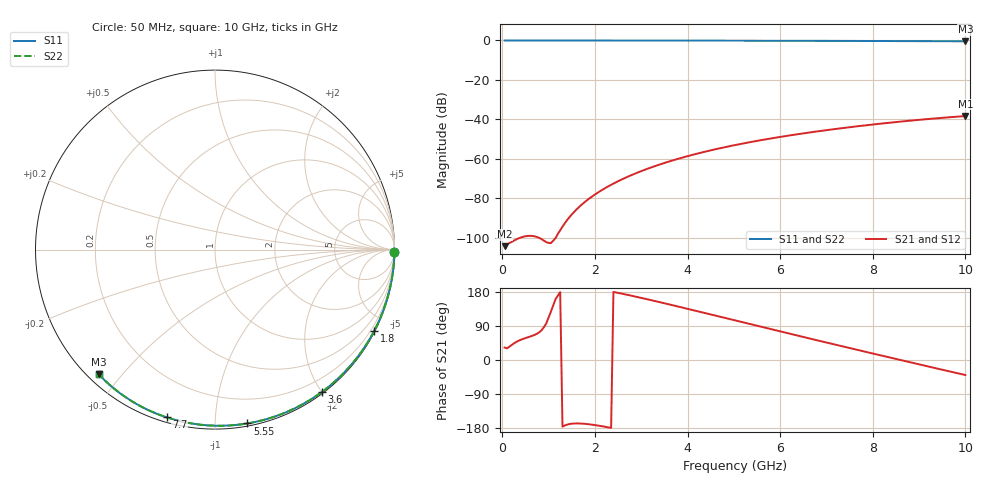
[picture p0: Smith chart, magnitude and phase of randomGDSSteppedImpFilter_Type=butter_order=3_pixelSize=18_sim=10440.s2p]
! freq	dB(S11)	phase(S11)	dB(S12)	phase(S12)
!  dB(S21)	phase(S21)	dB(S22)	phase(S22)
!S-par simulation data
#  GHz  S  DB  R 50
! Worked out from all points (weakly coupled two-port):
!   200 points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, 50 MHz to 10 GHz, reference 50 ohm
!   highest |S21| = -38.32 dB at 10 GHz (marker M1); lowest = -104.3 dB at 50 MHz (marker M2)
!   lowest |S11| = -0.4 dB at 10 GHz (marker M3), VSWR 39.06, Z = 1.52 - j21.7 ohm
!   |S11| at or under -10 dB: nowhere
!   |S22| runs from -0.4 to 0.0 dB; largest |S21 - S12| = 0
!   S11 on the Smith chart (normalised r, x): 50 MHz: open; 1.8 GHz: 0.04, -4.13; 3.6 GHz: 0.02, -2.00; 5.55 GHz: 0.02, -1.20; 7.7 GHz: 0.02, -0.75; 10 GHz: 0.03, -0.43
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0.05  -0.00 -0.8  -104.28 32.8  -104.28 32.8  -0.00 -0.8
0.45  -0.01 -6.9  -99.52 55.7  -99.52 55.7  -0.01 -6.9
0.9  -0.02 -13.7  -101.52 86.9  -101.52 86.9  -0.02 -13.7
1.75  -0.03 -26.5  -82.50 -168.1  -82.50 -168.1  -0.03 -26.5
1.8  -0.03 -27.2  -81.54 -168.6  -81.54 -168.6  -0.03 -27.2
1.9  -0.04 -28.7  -79.74 -170.0  -79.74 -170.0  -0.04 -28.7
2.05  -0.04 -30.9  -77.31 -172.6  -77.31 -172.6  -0.04 -30.9
2.25  -0.04 -33.8  -74.46 -176.8  -74.46 -176.8  -0.04 -33.8
2.45  -0.05 -36.7  -71.94 178.4  -71.94 178.4  -0.05 -36.7
2.65  -0.05 -39.7  -69.69 173.4  -69.69 173.4  -0.05 -39.7
3  -0.06 -44.7  -66.24 163.9  -66.24 163.9  -0.06 -44.7
3.4  -0.07 -50.4  -62.87 152.6  -62.87 152.6  -0.07 -50.4
3.6  -0.07 -53.2  -61.36 146.8  -61.36 146.8  -0.07 -53.2
4.3  -0.09 -62.8  -56.83 126.2  -56.83 126.2  -0.09 -62.8
5.05  -0.11 -72.9  -52.91 103.7  -52.91 103.7  -0.11 -72.9
5.55  -0.13 -79.4  -50.69 88.8  -50.69 88.8  -0.13 -79.4
6.1  -0.15 -86.5  -48.52 72.5  -48.52 72.5  -0.15 -86.5
6.7  -0.18 -94.0  -46.43 54.8  -46.43 54.8  -0.18 -94.0
7.7  -0.24 -106.1  -43.41 25.8  -43.41 25.8  -0.24 -106.1
8.35  -0.29 -113.8  -41.73 7.1  -41.73 7.1  -0.29 -113.8
9.15  -0.36 -123.2  -39.92 -15.8  -39.92 -15.8  -0.36 -123.2
10  -0.44 -133.0  -38.32 -39.7  -38.32 -39.7  -0.44 -133.0
